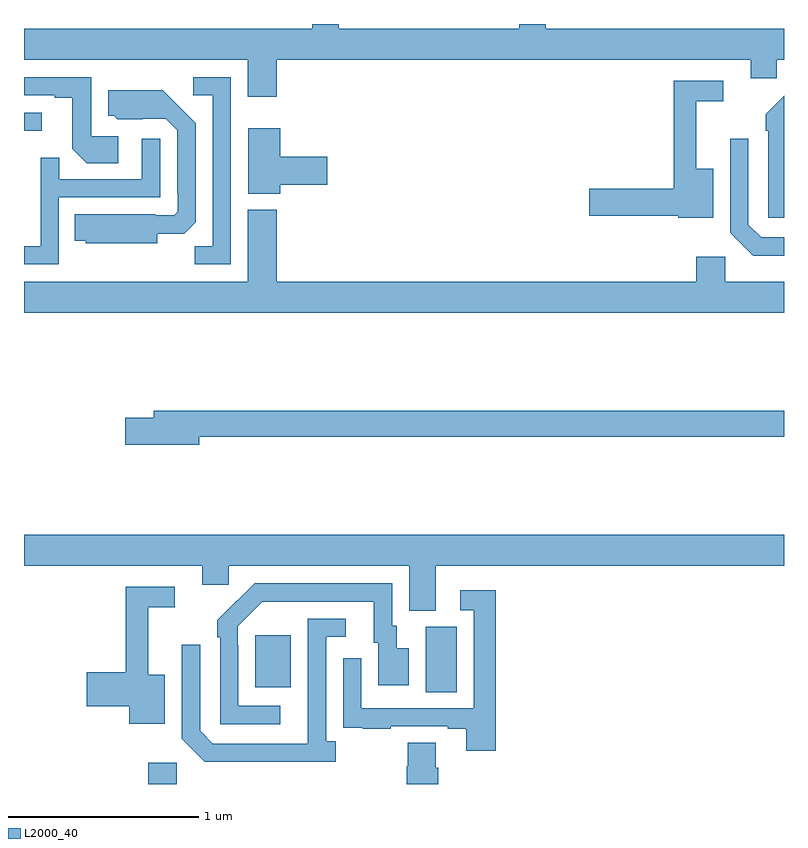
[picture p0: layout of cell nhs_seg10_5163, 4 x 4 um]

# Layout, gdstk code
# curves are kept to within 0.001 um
import gdstk
lib = gdstk.Library(unit=1e-6, precision=1e-09)
def R(c, l, rs):  # rectangles x0, y0, x1, y1
    for r in rs: c.add(gdstk.rectangle(r[:2], r[2:], *l))
def P(c, l, *ps):  # polygons
    for p in ps: c.add(gdstk.Polygon(p, *l))
L2000_40 = (2000, 40)

nhs_seg10_5163 = lib.new_cell('nhs_seg10_5163')
R(nhs_seg10_5163, L2000_40, [(411.653,1300.5,411.804,1300.612), (413.114,1300.984,413.278,1301.328), (412.217,1301.009,412.405,1301.284), (411,1303.937,411.094,1304.034)])
P(nhs_seg10_5163, L2000_40, [(412.331,1304.312),(414.824,1304.312),(414.824,1304.214),(414.963,1304.214),(414.963,1304.312),(415,1304.312),(415,1304.476),(413.746,1304.476),(413.746,1304.5),(413.607,1304.5),(413.607,1304.476),(412.657,1304.476),(412.657,1304.5),(412.517,1304.5),(412.517,1304.476),(411,1304.476),(411,1304.312),(412.178,1304.312),(412.178,1304.118),(412.331,1304.118)],
  [(411.496,1303.908),(411.354,1303.908),(411.354,1304.22),(411,1304.22),(411,1304.124),(411.161,1304.124),(411.161,1304.112),(411.255,1304.112),(411.255,1303.844),(411.331,1303.768),(411.496,1303.768)],
  [(412.089,1304.22),(411.891,1304.22),(411.891,1304.124),(411.993,1304.124),(411.993,1303.331),(411.898,1303.331),(411.898,1303.236),(412.089,1303.236)],
  [(414.628,1303.738),(414.539,1303.738),(414.539,1304.094),(414.679,1304.094),(414.679,1304.202),(414.421,1304.202),(414.421,1303.634),(413.976,1303.634),(413.976,1303.492),(414.444,1303.492),(414.444,1303.481),(414.628,1303.481)],
  [(411.7,1303.397),(411.844,1303.397),(411.903,1303.456),(411.903,1303.978),(411.731,1304.152),(411.443,1304.152),(411.443,1304.016),(411.474,1304.016),(411.49,1304),(411.747,1304.001),(411.807,1303.941),(411.807,1303.612),(411.81,1303.612),(411.81,1303.512),(411.792,1303.494),(411.692,1303.494),(411.692,1303.498),(411.268,1303.498),(411.268,1303.358),(411.324,1303.358),(411.324,1303.346),(411.7,1303.346)],
  [(415,1304.122),(414.903,1304.025),(414.903,1303.937),(414.918,1303.937),(414.918,1303.479),(415,1303.479)],
  [(412.348,1303.655),(412.597,1303.655),(412.597,1303.802),(412.348,1303.802),(412.348,1303.951),(412.181,1303.951),(412.181,1303.607),(412.348,1303.607)],
  [(415,1303.377),(414.879,1303.377),(414.813,1303.443),(414.813,1303.897),(414.717,1303.897),(414.717,1303.401),(414.838,1303.28),(415,1303.28)],
  [(411.183,1303.587),(411.717,1303.587),(411.717,1303.897),(411.621,1303.897),(411.621,1303.683),(411.185,1303.683),(411.185,1303.796),(411.087,1303.796),(411.087,1303.329),(411,1303.329),(411,1303.236),(411.183,1303.236)],
  [(415,1303.144),(414.69,1303.144),(414.69,1303.276),(414.539,1303.276),(414.539,1303.144),(412.331,1303.144),(412.331,1303.522),(412.178,1303.522),(412.178,1303.144),(411,1303.144),(411,1302.98),(415,1302.98)],
  [(411.922,1302.328),(415,1302.328),(415,1302.464),(411.683,1302.464),(411.683,1302.428),(411.534,1302.428),(411.534,1302.286),(411.922,1302.286)],
  [(413.167,1301.648),(415,1301.648),(415,1301.812),(411,1301.812),(411,1301.648),(411.938,1301.648),(411.938,1301.55),(412.077,1301.55),(412.077,1301.648),(413.027,1301.648),(413.027,1301.413),(413.167,1301.413)],
  [(412.348,1300.911),(412.128,1300.911),(412.128,1301.231),(412.125,1301.231),(412.125,1301.331),(412.254,1301.46),(412.841,1301.46),(412.841,1301.244),(412.865,1301.244),(412.865,1301.019),(413.026,1301.019),(413.026,1301.215),(412.963,1301.215),(412.963,1301.334),(412.938,1301.334),(412.938,1301.556),(412.214,1301.556),(412.017,1301.361),(412.017,1301.273),(412.032,1301.273),(412.032,1300.815),(412.348,1300.815)],
  [(411.742,1301.074),(411.653,1301.074),(411.653,1301.43),(411.793,1301.43),(411.793,1301.538),(411.535,1301.538),(411.535,1301.087),(411.33,1301.087),(411.33,1300.909),(411.554,1300.909),(411.554,1300.817),(411.742,1300.817)],
  [(413.483,1301.521),(413.295,1301.521),(413.295,1301.415),(413.367,1301.415),(413.367,1300.899),(412.776,1300.899),(412.776,1301.161),(412.68,1301.161),(412.68,1300.906),(412.681,1300.906),(412.681,1300.797),(412.783,1300.797),(412.783,1300.791),(412.931,1300.791),(412.931,1300.803),(413.231,1300.803),(413.231,1300.791),(413.327,1300.791),(413.327,1300.674),(413.483,1300.674)],
  [(412.642,1300.726),(412.59,1300.726),(412.59,1301.274),(412.693,1301.274),(412.693,1301.37),(412.494,1301.37),(412.493,1300.713),(411.993,1300.713),(411.927,1300.779),(411.927,1301.233),(411.831,1301.233),(411.831,1300.737),(411.952,1300.616),(412.642,1300.616)],
  [(413.18,1300.586),(413.167,1300.586),(413.167,1300.718),(413.02,1300.718),(413.02,1300.593),(413.015,1300.593),(413.015,1300.5),(413.18,1300.5)])

lib.write_gds('nhs_seg10_5163.gds')
